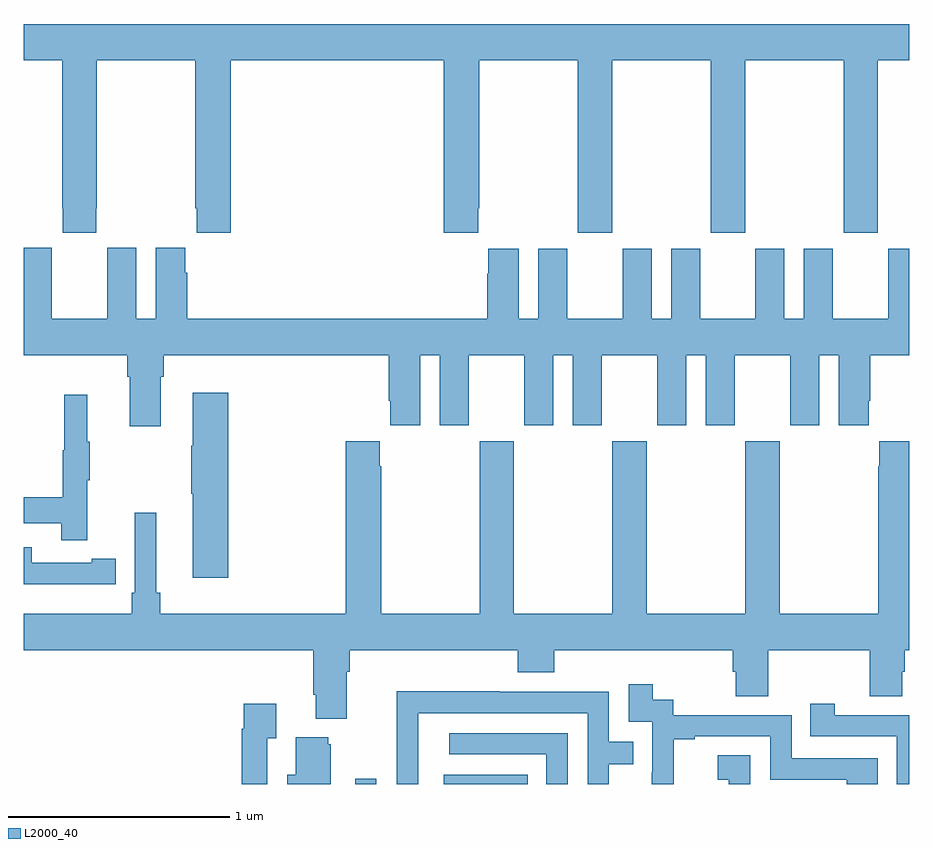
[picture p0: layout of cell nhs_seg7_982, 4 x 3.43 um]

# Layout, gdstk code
import gdstk
lib = gdstk.Library(unit=1e-6, precision=1e-09)
def R(c, l, rs):  # rectangles x0, y0, x1, y1
    for r in rs: c.add(gdstk.rectangle(r[:2], r[2:], *l))
def P(c, l, *ps):  # polygons
    for p in ps: c.add(gdstk.Polygon(p, *l))
L2000_40 = (2000, 40)

nhs_seg7_982 = lib.new_cell('nhs_seg7_982')
R(nhs_seg7_982, L2000_40, [(184.497,1012,184.593,1012.024), (184.898,1012,185.276,1012.042)])
P(nhs_seg7_982, L2000_40, [(183.327,1014.601),(183.33,1014.601),(183.33,1015.268),(183.775,1015.268),(183.775,1014.601),(183.781,1014.601),(183.781,1014.489),(183.935,1014.489),(183.935,1015.268),(184.898,1015.268),(184.898,1014.489),(185.053,1014.489),(185.053,1014.601),(185.058,1014.601),(185.058,1015.268),(185.503,1015.268),(185.503,1014.489),(185.658,1014.489),(185.658,1015.268),(186.103,1015.268),(186.103,1014.489),(186.258,1014.489),(186.258,1015.268),(186.703,1015.268),(186.703,1014.489),(186.858,1014.489),(186.858,1015.268),(187,1015.268),(187,1015.432),(183,1015.432),(183,1015.268),(183.175,1015.268),(183.175,1014.601),(183.177,1014.601),(183.177,1014.489),(183.327,1014.489)],
  [(183.619,1013.84),(183.632,1013.84),(183.632,1013.936),(184.649,1013.936),(184.649,1013.731),(184.655,1013.731),(184.655,1013.619),(184.792,1013.619),(184.792,1013.936),(184.88,1013.936),(184.88,1013.619),(185.011,1013.619),(185.011,1013.936),(185.261,1013.936),(185.261,1013.619),(185.392,1013.619),(185.392,1013.936),(185.48,1013.936),(185.48,1013.619),(185.611,1013.619),(185.611,1013.936),(185.861,1013.936),(185.861,1013.619),(185.992,1013.619),(185.992,1013.936),(186.08,1013.936),(186.08,1013.619),(186.211,1013.619),(186.211,1013.936),(186.461,1013.936),(186.461,1013.619),(186.592,1013.619),(186.592,1013.936),(186.68,1013.936),(186.68,1013.619),(186.817,1013.619),(186.817,1013.731),(186.824,1013.731),(186.824,1013.936),(187,1013.936),(187,1014.418),(186.905,1014.418),(186.905,1014.1),(186.655,1014.1),(186.655,1014.418),(186.524,1014.418),(186.524,1014.1),(186.436,1014.1),(186.436,1014.418),(186.305,1014.418),(186.305,1014.1),(186.055,1014.1),(186.055,1014.418),(185.924,1014.418),(185.924,1014.1),(185.836,1014.1),(185.836,1014.418),(185.705,1014.418),(185.705,1014.1),(185.455,1014.1),(185.455,1014.418),(185.324,1014.418),(185.324,1014.1),(185.236,1014.1),(185.236,1014.418),(185.099,1014.418),(185.099,1014.305),(185.093,1014.305),(185.093,1014.1),(183.74,1014.1),(183.74,1014.308),(183.73,1014.308),(183.73,1014.421),(183.596,1014.421),(183.596,1014.1),(183.508,1014.1),(183.508,1014.421),(183.378,1014.421),(183.378,1014.308),(183.377,1014.308),(183.377,1014.1),(183.127,1014.1),(183.127,1014.308),(183.126,1014.308),(183.126,1014.421),(183,1014.421),(183,1013.936),(183.467,1013.936),(183.467,1013.84),(183.479,1013.84),(183.479,1013.616),(183.619,1013.616)],
  [(183.923,1013.767),(183.764,1013.767),(183.764,1013.528),(183.757,1013.528),(183.757,1013.311),(183.764,1013.311),(183.764,1012.932),(183.923,1012.932)],
  [(183.287,1013.371),(183.298,1013.371),(183.298,1013.545),(183.287,1013.545),(183.287,1013.758),(183.184,1013.758),(183.184,1013.508),(183.177,1013.508),(183.177,1013.294),(183,1013.294),(183,1013.178),(183.169,1013.178),(183.169,1013.1),(183.287,1013.1)],
  [(185.214,1013.548),(185.059,1013.548),(185.059,1012.768),(184.614,1012.768),(184.614,1013.435),(184.609,1013.435),(184.609,1013.548),(184.454,1013.548),(184.454,1012.768),(183.617,1012.768),(183.617,1012.864),(183.598,1012.864),(183.598,1013.224),(183.501,1013.224),(183.501,1012.864),(183.488,1012.864),(183.488,1012.768),(183,1012.768),(183,1012.604),(184.307,1012.604),(184.307,1012.402),(184.319,1012.402),(184.319,1012.295),(184.459,1012.295),(184.459,1012.508),(184.472,1012.508),(184.472,1012.604),(185.231,1012.604),(185.231,1012.505),(185.396,1012.505),(185.396,1012.604),(186.203,1012.604),(186.203,1012.506),(186.215,1012.506),(186.215,1012.396),(186.363,1012.396),(186.363,1012.604),(186.82,1012.604),(186.82,1012.396),(186.967,1012.396),(186.967,1012.506),(186.98,1012.506),(186.98,1012.604),(187,1012.604),(187,1013.548),(186.863,1013.548),(186.863,1013.435),(186.859,1013.435),(186.859,1012.768),(186.414,1012.768),(186.414,1013.548),(186.259,1013.548),(186.259,1012.768),(185.814,1012.768),(185.814,1013.548),(185.659,1013.548),(185.659,1012.768),(185.214,1012.768)],
  [(183.308,1012.902),(183.416,1012.902),(183.416,1013.018),(183.308,1013.018),(183.308,1012.998),(183.036,1012.998),(183.036,1013.07),(183,1013.07),(183,1012.901),(183.308,1012.901)],
  [(185.936,1012.203),(186.031,1012.203),(186.031,1012.215),(186.372,1012.215),(186.372,1012.02),(186.717,1012.02),(186.717,1012),(186.857,1012),(186.857,1012.116),(186.468,1012.116),(186.468,1012.311),(185.934,1012.311),(185.934,1012.38),(185.842,1012.38),(185.842,1012.45),(185.733,1012.45),(185.733,1012.281),(185.838,1012.281),(185.838,1012.052),(185.837,1012.052),(185.837,1012),(185.936,1012)],
  [(184.782,1012.32),(185.547,1012.32),(185.547,1012),(185.643,1012),(185.643,1012.09),(185.753,1012.09),(185.753,1012.191),(185.643,1012.191),(185.643,1012.416),(185.147,1012.416),(185.147,1012.418),(184.684,1012.418),(184.684,1012.111),(184.686,1012.111),(184.686,1012),(184.782,1012)],
  [(187,1012.311),(186.664,1012.311),(186.664,1012.363),(186.553,1012.363),(186.553,1012.215),(186.942,1012.215),(186.942,1012),(187,1012)],
  [(184.101,1012.207),(184.141,1012.207),(184.141,1012.363),(183.993,1012.363),(183.993,1012.25),(183.985,1012.25),(183.985,1012),(184.101,1012)],
  [(185.457,1012.23),(184.923,1012.23),(184.923,1012.134),(185.361,1012.134),(185.361,1012),(185.457,1012)],
  [(184.387,1012.179),(184.376,1012.179),(184.376,1012.21),(184.229,1012.21),(184.229,1012.042),(184.19,1012.042),(184.19,1012),(184.387,1012)],
  [(186.282,1012.129),(186.135,1012.129),(186.135,1012.019),(186.184,1012.019),(186.184,1012),(186.282,1012)])

lib.write_gds('nhs_seg7_982.gds')
